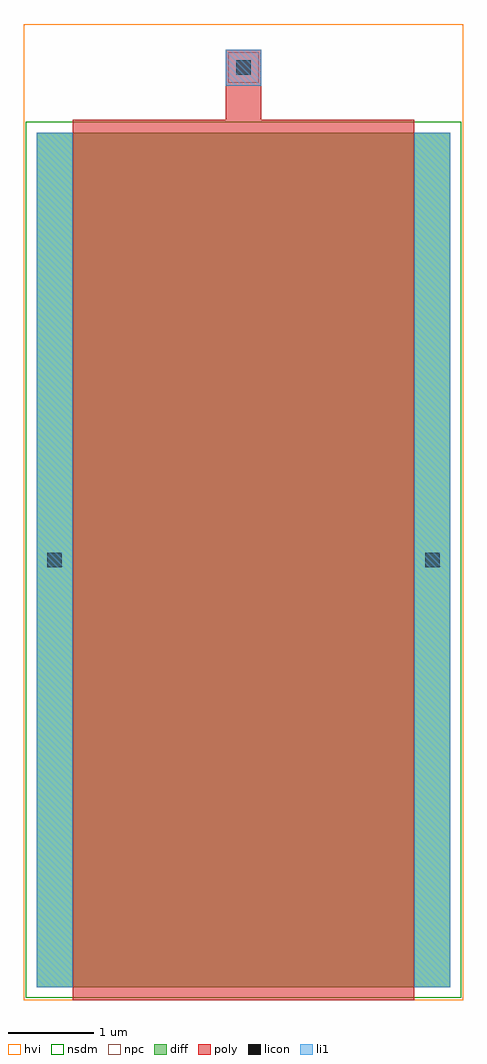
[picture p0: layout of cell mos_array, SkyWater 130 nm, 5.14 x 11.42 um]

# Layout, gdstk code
import gdstk
lib = gdstk.Library(unit=1e-6, precision=1e-09)
def R(c, l, rs):  # rectangles x0, y0, x1, y1
    for r in rs: c.add(gdstk.rectangle(r[:2], r[2:], *l))
diff = (65, 20)
poly = (66, 20)
licon = (66, 44)
li1 = (67, 20)
hvi = (75, 20)
nsdm = (93, 44)
npc = (95, 20)

mos_array = lib.new_cell('mos_array')
R(mos_array, diff, [(0,0,4.84,10)])
R(mos_array, poly, [(0.42,-0.15,4.42,10), (0.42,10,4.42,10.15), (0.42,10,4.42,10.15), (2.21,10.15,2.63,10.97)])
R(mos_array, licon, [(0.125,4.915,0.295,5.085), (4.545,4.915,4.715,5.085), (2.335,10.675,2.505,10.845)])
R(mos_array, li1, [(0,0,0.42,10), (4.42,0,4.84,10), (2.21,10.55,2.63,10.97)])
R(mos_array, hvi, [(-0.15,-0.15,4.99,11.27)])
R(mos_array, nsdm, [(-0.125,-0.125,4.965,10.125)])
R(mos_array, npc, [(2.24,10.58,2.6,10.94)])

lib.write_gds('mos_array.gds')
